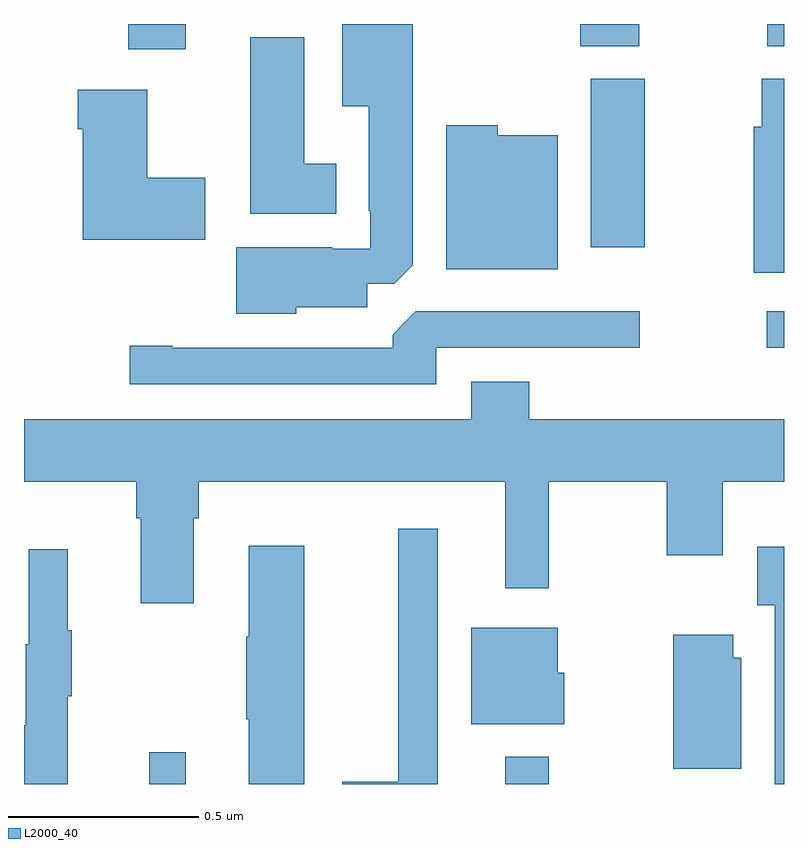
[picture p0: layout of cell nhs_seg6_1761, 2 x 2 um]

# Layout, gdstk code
import gdstk
lib = gdstk.Library(unit=1e-6, precision=1e-09)
def R(c, l, rs):  # rectangles x0, y0, x1, y1
    for r in rs: c.add(gdstk.rectangle(r[:2], r[2:], *l))
def P(c, l, *ps):  # polygons
    for p in ps: c.add(gdstk.Polygon(p, *l))
L2000_40 = (2000, 40)

nhs_seg6_1761 = lib.new_cell('nhs_seg6_1761')
R(nhs_seg6_1761, L2000_40, [(133.329,986.5,133.426,986.584), (134.267,986.5,134.381,986.572), (134.955,987.648,135,987.744), (134.492,987.912,134.634,988.356), (133.274,988.434,133.426,988.5), (134.464,988.441,134.619,988.5), (134.956,988.441,135,988.5)])
P(nhs_seg6_1761, L2000_40, [(133.716,987.755),(133.903,987.755),(133.903,987.816),(133.974,987.816),(134.023,987.865),(134.023,988.5),(133.838,988.5),(133.838,988.283),(133.907,988.283),(133.907,988.009),(133.911,988.009),(133.911,987.909),(133.811,987.909),(133.811,987.913),(133.559,987.913),(133.559,987.737),(133.716,987.737)],
  [(133.822,988.132),(133.738,988.132),(133.738,988.465),(133.595,988.465),(133.595,988.001),(133.822,988.001)],
  [(135,988.356),(134.941,988.356),(134.941,988.23),(134.92,988.23),(134.92,987.846),(135,987.846)],
  [(133.477,988.095),(133.324,988.095),(133.324,988.327),(133.142,988.327),(133.142,988.223),(133.154,988.223),(133.154,987.932),(133.477,987.932)],
  [(134.404,988.207),(134.247,988.207),(134.247,988.234),(134.111,988.234),(134.111,987.854),(134.404,987.854)],
  [(134.085,987.648),(134.62,987.648),(134.62,987.744),(134.031,987.744),(134.005,987.718),(133.97,987.682),(133.97,987.648),(133.39,987.648),(133.39,987.653),(133.278,987.653),(133.278,987.552),(134.085,987.552)],
  [(133.447,987.2),(133.46,987.2),(133.46,987.296),(134.267,987.296),(134.267,987.015),(134.381,987.015),(134.381,987.296),(134.692,987.296),(134.692,987.102),(134.839,987.102),(134.839,987.296),(135,987.296),(135,987.46),(134.33,987.46),(134.33,987.559),(134.177,987.559),(134.177,987.46),(133,987.46),(133,987.296),(133.295,987.296),(133.295,987.2),(133.307,987.2),(133.307,986.976),(133.447,986.976)],
  [(134.089,987.172),(133.985,987.172),(133.985,986.506),(133.838,986.506),(133.838,986.5),(134.089,986.5)],
  [(133.738,987.127),(133.592,987.127),(133.592,986.888),(133.585,986.888),(133.585,986.671),(133.592,986.671),(133.592,986.5),(133.738,986.5)],
  [(135,987.124),(134.93,987.124),(134.93,986.97),(134.975,986.97),(134.975,986.5),(135,986.5)],
  [(133.115,986.731),(133.126,986.731),(133.126,986.905),(133.115,986.905),(133.115,987.118),(133.012,987.118),(133.012,986.868),(133.005,986.868),(133.005,986.654),(133,986.654),(133,986.5),(133.115,986.5)],
  [(134.422,986.793),(134.404,986.793),(134.404,986.911),(134.177,986.911),(134.177,986.657),(134.422,986.657)],
  [(134.887,986.832),(134.866,986.832),(134.866,986.893),(134.708,986.893),(134.708,986.54),(134.887,986.54)])

lib.write_gds('nhs_seg6_1761.gds')
